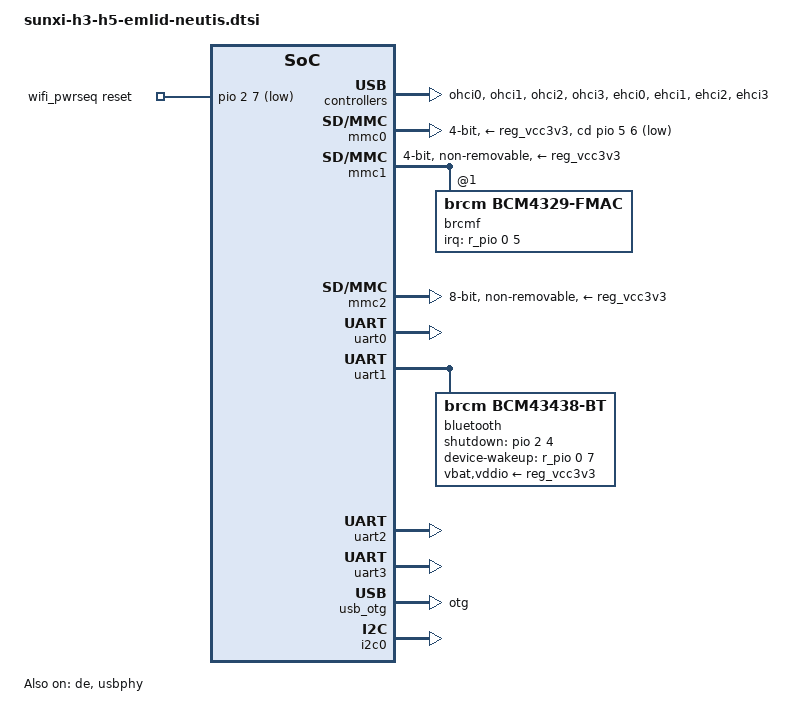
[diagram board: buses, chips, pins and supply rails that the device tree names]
// SPDX-License-Identifier: GPL-2.0-or-later OR MIT
/*
 * DTSI for Emlid Neutis SoMs.
 *
 * Copyright (C) 2019 Georgii Staroselskii <georgii.staroselskii@emlid.com>
 */

#include "sunxi-common-regulators.dtsi"

#include <dt-bindings/gpio/gpio.h>

/ {
	aliases {
		serial0 = &uart0;
	};

	chosen {
		stdout-path = "serial0:115200n8";
	};

	wifi_pwrseq: wifi_pwrseq {
		compatible = "mmc-pwrseq-simple";
		reset-gpios = <&pio 2 7 GPIO_ACTIVE_LOW>; /* PC7 */
		post-power-on-delay-ms = <200>;
		clocks = <&rtc 1>;
		clock-names = "ext_clock";
	};
};

&cpu0 {
	cpu-supply = <&vdd_cpux>;
};

&reg_usb0_vbus {
	gpio = <&r_pio 0 9 GPIO_ACTIVE_HIGH>;   /* PL9 */
	status = "okay";
};


&de {
	status = "okay";
};

&ohci0 {
	status = "okay";
};

&ohci1 {
	status = "okay";
};

&ohci2 {
	status = "okay";
};

&ohci3 {
	status = "okay";
};


&ehci0 {
	status = "okay";
};

&ehci1 {
	status = "okay";
};

&ehci2 {
	status = "okay";
};

&ehci3 {
	status = "okay";
};

&mmc0 {
	vmmc-supply = <&reg_vcc3v3>;
	bus-width = <4>;
	cd-gpios = <&pio 5 6 GPIO_ACTIVE_LOW>; /* PF6 */
	status = "okay";
};


&mmc1 {
	vmmc-supply = <&reg_vcc3v3>;
	vqmmc-supply = <&reg_vcc3v3>;
	mmc-pwrseq = <&wifi_pwrseq>;
	bus-width = <4>;
	non-removable;
	status = "okay";

	brcmf: wifi@1 {
		reg = <1>;
		compatible = "brcm,bcm4329-fmac";
		interrupt-parent = <&r_pio>;
		interrupts = <0 5 IRQ_TYPE_LEVEL_LOW>;	/* PL5 */
		interrupt-names = "host-wake";
	};
};

&mmc2 {
	pinctrl-names = "default";
	pinctrl-0 = <&mmc2_8bit_pins>;
	vmmc-supply = <&reg_vcc3v3>;
	bus-width = <8>;
	non-removable;
	cap-mmc-hw-reset;
	status = "okay";
};

&uart0 {
	pinctrl-names = "default";
	pinctrl-0 = <&uart0_pa_pins>;
	status = "okay";
};


&uart1 {
	pinctrl-names = "default";
	pinctrl-0 = <&uart1_pins>, <&uart1_rts_cts_pins>;
	uart-has-rtscts;
	status = "okay";

	bluetooth {
		compatible = "brcm,bcm43438-bt";
		clocks = <&rtc 1>;
		clock-names = "lpo";
		vbat-supply = <&reg_vcc3v3>;
		vddio-supply = <&reg_vcc3v3>;
		shutdown-gpios = <&pio 2 4 GPIO_ACTIVE_HIGH>; /* PC4 */
		device-wakeup-gpios = <&r_pio 0 7 GPIO_ACTIVE_HIGH>; /* PL7 */
	};
};

&uart2 {
	pinctrl-names = "default";
	pinctrl-0 = <&uart2_pins>;
	status = "okay";
};

&uart3 {
	pinctrl-names = "default";
	pinctrl-0 = <&uart3_pins>;
	status = "okay";
};

&usbphy {
	usb0_id_det-gpios = <&r_pio 0 8 GPIO_ACTIVE_HIGH>; /* PL8 */
	usb0_vbus-supply = <&reg_usb0_vbus>;
	status = "okay";
};

&usb_otg {
	dr_mode = "otg";
	status = "okay";
};

&codec {
	allwinner,audio-routing =
		"Line Out", "LINEOUT",
		"LINEIN", "Line In",
		"MIC1", "Mic",
		"MIC2", "Mic",
		"Mic",  "MBIAS";
};

&i2c0 {
	status = "okay";
};
